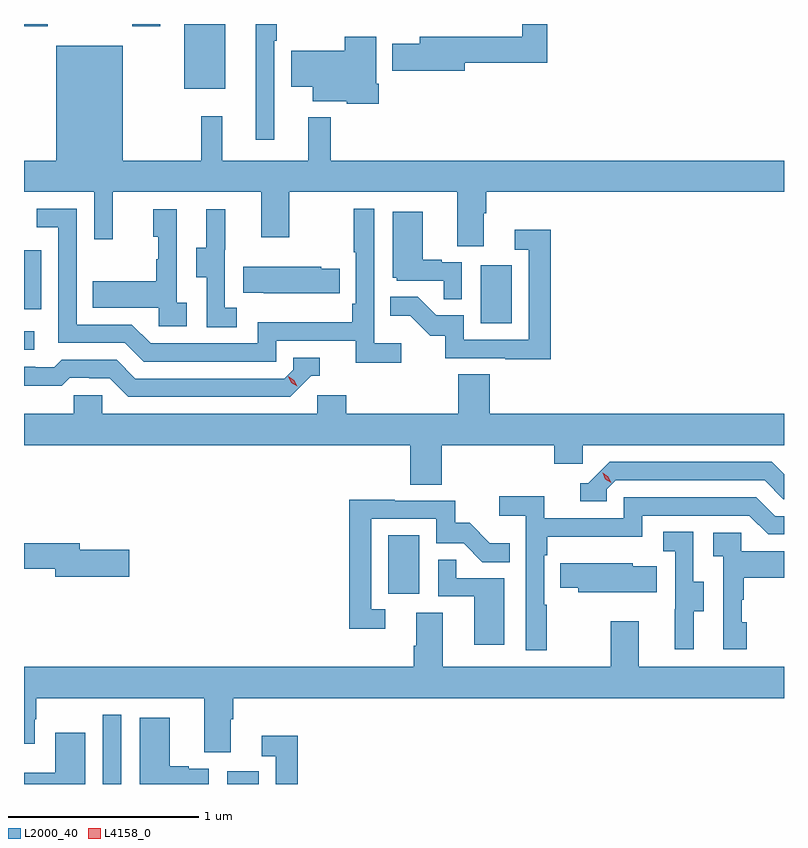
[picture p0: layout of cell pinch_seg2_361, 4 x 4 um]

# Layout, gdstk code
import gdstk
lib = gdstk.Library(unit=1e-6, precision=1e-09)
def R(c, l, rs):  # rectangles x0, y0, x1, y1
    for r in rs: c.add(gdstk.rectangle(r[:2], r[2:], *l))
def P(c, l, *ps):  # polygons
    for p in ps: c.add(gdstk.Polygon(p, *l))
L2000_40 = (2000, 40)
L4158_0 = (4158, 0)

pinch_seg2_361 = lib.new_cell('pinch_seg2_361')
R(pinch_seg2_361, L2000_40, [(969.012,640.524,969.108,640.888), (969.668,640.524,969.832,640.591), (970.514,641.526,970.678,641.833), (968.597,642.81,968.65,642.906), (971,642.948,971.164,643.255), (968.597,643.023,968.688,643.332), (969.44,644.183,969.655,644.524), (968.597,644.511,968.721,644.524), (969.166,644.511,969.313,644.524)])
P(pinch_seg2_361, L2000_40, [(969.915,644.435),(969.928,644.435),(969.928,644.524),(969.818,644.524),(969.818,643.914),(969.915,643.914)],
  [(970.918,644.32),(971.351,644.32),(971.351,644.524),(971.219,644.524),(971.219,644.456),(970.679,644.456),(970.679,644.42),(970.535,644.42),(970.535,644.278),(970.918,644.278)],
  [(970.463,644.209),(970.45,644.209),(970.45,644.458),(970.285,644.458),(970.285,644.383),(970.004,644.383),(970.004,644.195),(970.118,644.195),(970.118,644.117),(970.296,644.117),(970.296,644.105),(970.463,644.105)],
  [(971.017,643.528),(971.03,643.528),(971.03,643.64),(972.597,643.64),(972.597,643.804),(970.211,643.804),(970.211,644.032),(970.094,644.032),(970.094,643.804),(969.641,643.804),(969.641,644.038),(969.531,644.038),(969.531,643.804),(969.118,643.804),(969.118,644.41),(968.768,644.41),(968.768,643.804),(968.597,643.804),(968.597,643.64),(968.967,643.64),(968.967,643.392),(969.065,643.392),(969.065,643.64),(969.845,643.64),(969.845,643.401),(969.993,643.401),(969.993,643.64),(970.877,643.64),(970.877,643.354),(971.017,643.354)],
  [(970.582,642.844),(970.44,642.844),(970.44,643.552),(970.332,643.552),(970.332,643.324),(970.344,643.324),(970.344,643.051),(970.324,643.051),(970.324,642.955),(969.828,642.955),(969.828,642.843),(969.264,642.843),(969.165,642.942),(968.874,642.942),(968.874,643.551),(968.665,643.551),(968.665,643.455),(968.778,643.455),(968.778,642.846),(969.128,642.846),(969.227,642.747),(969.924,642.747),(969.924,642.858),(970.343,642.858),(970.343,642.742),(970.582,642.742)],
  [(969.454,643.058),(969.402,643.058),(969.402,643.549),(969.278,643.549),(969.278,643.404),(969.304,643.404),(969.304,643.286),(969.294,643.286),(969.294,643.171),(968.959,643.171),(968.959,643.031),(969.306,643.031),(969.306,642.933),(969.454,642.933)],
  [(969.718,643.031),(969.654,643.031),(969.654,643.335),(969.656,643.335),(969.656,643.549),(969.557,643.549),(969.557,643.347),(969.503,643.347),(969.503,643.192),(969.558,643.192),(969.558,642.928),(969.718,642.928)],
  [(970.902,643.269),(970.796,643.269),(970.796,643.282),(970.696,643.282),(970.696,643.537),(970.538,643.537),(970.538,643.188),(970.56,643.188),(970.56,643.173),(970.807,643.173),(970.807,643.075),(970.902,643.075)],
  [(971.369,643.441),(971.181,643.441),(971.181,643.335),(971.253,643.335),(971.253,642.861),(970.911,642.861),(970.911,642.99),(970.767,642.99),(970.669,643.088),(970.525,643.088),(970.525,642.989),(970.629,642.989),(970.736,642.882),(970.813,642.882),(970.813,642.765),(971.131,642.765),(971.131,642.76),(971.369,642.76)],
  [(970.259,643.236),(970.161,643.236),(970.161,643.246),(969.751,643.246),(969.751,643.109),(969.859,643.109),(969.859,643.106),(970.259,643.106)],
  [(970.11,642.672),(970.153,642.672),(970.153,642.768),(970.014,642.768),(970.014,642.705),(969.966,642.657),(969.183,642.657),(969.084,642.756),(968.795,642.756),(968.756,642.717),(968.657,642.717),(968.657,642.72),(968.597,642.72),(968.597,642.621),(968.795,642.621),(968.837,642.663),(968.94,642.663),(968.94,642.66),(969.047,642.66),(969.146,642.561),(969.999,642.561)],
  [(970.796,642.308),(971.387,642.308),(971.387,642.21),(971.538,642.21),(971.538,642.308),(972.597,642.308),(972.597,642.472),(971.048,642.472),(971.048,642.68),(970.883,642.68),(970.883,642.472),(970.292,642.472),(970.292,642.57),(970.14,642.57),(970.14,642.472),(969.009,642.472),(969.009,642.57),(968.859,642.57),(968.859,642.472),(968.597,642.472),(968.597,642.308),(970.631,642.308),(970.631,642.1),(970.796,642.1)],
  [(971.664,642.075),(971.712,642.123),(972.495,642.123),(972.594,642.024),(972.597,642.024),(972.597,642.154),(972.532,642.219),(971.679,642.219),(971.568,642.108),(971.525,642.108),(971.525,642.012),(971.664,642.012)],
  [(971.347,641.468),(971.334,641.468),(971.334,641.729),(971.351,641.729),(971.351,641.825),(971.85,641.825),(971.85,641.937),(972.414,641.937),(972.513,641.838),(972.597,641.838),(972.597,641.934),(972.55,641.934),(972.451,642.033),(971.754,642.033),(971.754,641.922),(971.336,641.922),(971.336,642.038),(971.097,642.038),(971.097,641.936),(971.238,641.936),(971.238,641.229),(971.347,641.229)],
  [(970.498,641.445),(970.425,641.445),(970.425,641.919),(970.767,641.919),(970.767,641.79),(970.911,641.79),(971.009,641.692),(971.153,641.692),(971.153,641.791),(971.049,641.791),(970.942,641.898),(970.866,641.898),(970.866,642.015),(970.547,642.015),(970.547,642.02),(970.309,642.02),(970.309,641.34),(970.498,641.34)],
  [(972.121,641.434),(972.175,641.434),(972.175,641.589),(972.12,641.589),(972.12,641.852),(971.961,641.852),(971.961,641.749),(972.024,641.749),(972.024,641.445),(972.023,641.445),(972.023,641.232),(972.121,641.232)],
  [(972.4,641.376),(972.375,641.376),(972.375,641.495),(972.385,641.495),(972.385,641.609),(972.597,641.609),(972.597,641.749),(972.372,641.749),(972.372,641.847),(972.225,641.847),(972.225,641.723),(972.276,641.723),(972.276,641.232),(972.4,641.232)],
  [(969.151,641.756),(968.89,641.756),(968.89,641.792),(968.597,641.792),(968.597,641.656),(968.762,641.656),(968.762,641.614),(969.151,641.614)],
  [(971.125,641.607),(970.871,641.607),(970.871,641.705),(970.776,641.705),(970.776,641.511),(970.967,641.511),(970.967,641.256),(971.125,641.256)],
  [(971.927,641.671),(971.802,641.671),(971.802,641.686),(971.53,641.686),(971.53,641.685),(971.419,641.685),(971.419,641.557),(971.513,641.557),(971.513,641.534),(971.927,641.534)],
  [(969.685,640.864),(969.698,640.864),(969.698,640.976),(972.597,640.976),(972.597,641.14),(971.833,641.14),(971.833,641.38),(971.686,641.38),(971.686,641.14),(970.801,641.14),(970.801,641.426),(970.661,641.426),(970.661,641.252),(970.649,641.252),(970.649,641.14),(968.597,641.14),(968.597,640.737),(968.653,640.737),(968.653,640.865),(968.661,640.865),(968.661,640.976),(969.545,640.976),(969.545,640.69),(969.685,640.69)],
  [(969.57,640.605),(969.464,640.605),(969.464,640.618),(969.364,640.618),(969.364,640.873),(969.206,640.873),(969.206,640.524),(969.57,640.524)],
  [(968.92,640.795),(968.762,640.795),(968.762,640.582),(968.597,640.582),(968.597,640.524),(968.92,640.524)],
  [(970.037,640.777),(969.849,640.777),(969.849,640.671),(969.921,640.671),(969.921,640.524),(970.037,640.524)])
P(pinch_seg2_361, L4158_0, [(971.688,642.109),(971.657,642.129),(971.642,642.161),(971.642,642.162),(971.642,642.162),(971.672,642.142),(971.688,642.109),(971.688,642.109)],
  [(970.035,642.617),(970.004,642.637),(969.988,642.669),(969.988,642.67),(969.989,642.67),(970.019,642.65),(970.035,642.617),(970.035,642.617)])

lib.write_gds('pinch_seg2_361.gds')
